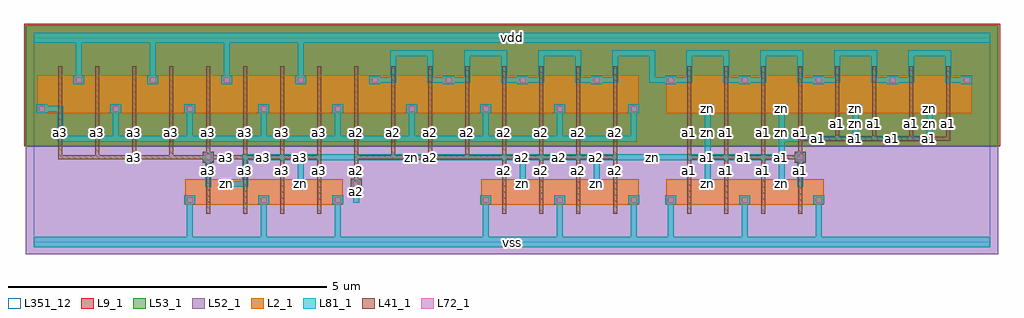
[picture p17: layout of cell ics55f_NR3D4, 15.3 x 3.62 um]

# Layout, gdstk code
import gdstk
lib = gdstk.Library(unit=1e-6, precision=1e-09)
def R(c, l, rs):  # rectangles x0, y0, x1, y1
    for r in rs: c.add(gdstk.rectangle(r[:2], r[2:], *l))
def A(c, l, x, y, w, h, nx, ny, dx, dy):  # array of equal rectangles
    R(c, l, [(x+i*dx, y+j*dy, x+i*dx+w, y+j*dy+h) for i in range(nx) for j in range(ny)])
def P(c, l, *ps):  # polygons
    for p in ps: c.add(gdstk.Polygon(p, *l))
L0_0 = (0, 0)
L2_1 = (2, 1)
L9_1 = (9, 1)
L41_1 = (41, 1)
L52_1 = (52, 1)
L53_1 = (53, 1)
L72_1 = (72, 1)
L81_1 = (81, 1)
L351_12 = (351, 12)

ics55f_nr3d4 = lib.new_cell('ics55f_NR3D4')
A(ics55f_nr3d4, L2_1, 2.375, 0.585, 0.73, 0.4, 4, 1, 0.58, 0)
A(ics55f_nr3d4, L2_1, 2.375, 0.585, 0.15, 0.15, 3, 1, 1.16, 0)
A(ics55f_nr3d4, L2_1, 7.015, 0.585, 0.73, 0.4, 4, 1, 0.58, 0)
A(ics55f_nr3d4, L2_1, 7.015, 0.585, 0.15, 0.15, 3, 1, 1.16, 0)
A(ics55f_nr3d4, L2_1, 9.915, 0.585, 0.73, 0.4, 4, 1, 0.58, 0)
A(ics55f_nr3d4, L2_1, 9.915, 0.585, 0.15, 0.15, 3, 1, 1.16, 0)
A(ics55f_nr3d4, L2_1, 0.055, 2.015, 0.73, 0.6, 16, 1, 0.58, 0)
A(ics55f_nr3d4, L2_1, 0.055, 2.015, 0.15, 0.15, 13, 1, 1.16, 0)
A(ics55f_nr3d4, L2_1, 9.915, 2.015, 0.73, 0.6, 8, 1, 0.58, 0)
A(ics55f_nr3d4, L2_1, 0.635, 2.465, 0.15, 0.15, 13, 1, 1.16, 0)
R(ics55f_nr3d4, L2_1, [(2.955,0.835,3.105,0.985), (4.115,0.835,4.265,0.985), (7.595,0.835,7.745,0.985), (8.755,0.835,8.905,0.985), (10.495,0.835,10.645,0.985), (11.655,0.835,11.805,0.985)])
R(ics55f_nr3d4, L9_1, [(-0.15,1.5,15.15,3.425)])
A(ics55f_nr3d4, L41_1, 2.71, 0.445, 0.06, 0.68, 4, 1, 0.58, 0)
A(ics55f_nr3d4, L41_1, 7.35, 0.445, 0.06, 0.68, 4, 1, 0.58, 0)
A(ics55f_nr3d4, L41_1, 10.25, 0.445, 0.06, 0.68, 4, 1, 0.58, 0)
A(ics55f_nr3d4, L41_1, 2.71, 0.88, 0.06, 0.48, 5, 1, 0.58, 0)
A(ics55f_nr3d4, L41_1, 7.35, 0.88, 0.06, 0.48, 4, 1, 0.58, 0)
A(ics55f_nr3d4, L41_1, 10.25, 0.88, 0.06, 0.48, 4, 1, 0.58, 0)
A(ics55f_nr3d4, L41_1, 0.39, 1.3, 0.06, 0.82, 16, 1, 0.58, 0)
A(ics55f_nr3d4, L41_1, 2.71, 1.3, 0.64, 0.06, 3, 1, 0.58, 0)
A(ics55f_nr3d4, L41_1, 7.35, 1.3, 0.64, 0.06, 3, 1, 0.58, 0)
A(ics55f_nr3d4, L41_1, 10.25, 1.3, 0.64, 0.06, 3, 1, 0.58, 0)
A(ics55f_nr3d4, L41_1, 10.25, 1.3, 0.06, 0.82, 4, 1, 0.58, 0)
A(ics55f_nr3d4, L41_1, 11.99, 1.59, 0.64, 0.06, 4, 1, 0.58, 0)
A(ics55f_nr3d4, L41_1, 12.57, 1.59, 0.06, 0.53, 4, 1, 0.58, 0)
A(ics55f_nr3d4, L41_1, 0.39, 1.875, 0.06, 0.88, 16, 1, 0.58, 0)
A(ics55f_nr3d4, L41_1, 10.25, 1.875, 0.06, 0.88, 8, 1, 0.58, 0)
R(ics55f_nr3d4, L41_1, [(4.975,0.825,5.145,0.995), (2.655,1.245,2.825,1.415), (11.935,1.245,12.105,1.415), (0.39,1.3,2.77,1.36), (5.03,1.3,7.41,1.36)])
R(ics55f_nr3d4, L52_1, [(-0.12,-0.195,15.12,1.5)])
R(ics55f_nr3d4, L53_1, [(-0.12,1.5,15.12,3.395)])
A(ics55f_nr3d4, L72_1, 2.405, 0.615, 0.09, 0.09, 3, 1, 1.16, 0)
A(ics55f_nr3d4, L72_1, 7.045, 0.615, 0.09, 0.09, 3, 1, 1.16, 0)
A(ics55f_nr3d4, L72_1, 9.945, 0.615, 0.09, 0.09, 3, 1, 1.16, 0)
A(ics55f_nr3d4, L72_1, 0.085, 2.045, 0.09, 0.09, 13, 1, 1.16, 0)
A(ics55f_nr3d4, L72_1, 0.665, 2.495, 0.09, 0.09, 13, 1, 1.16, 0)
R(ics55f_nr3d4, L72_1, [(2.985,0.865,3.075,0.955), (4.145,0.865,4.235,0.955), (5.015,0.865,5.105,0.955), (7.625,0.865,7.715,0.955), (8.785,0.865,8.875,0.955), (10.525,0.865,10.615,0.955), (11.685,0.865,11.775,0.955), (2.695,1.285,2.785,1.375), (11.975,1.285,12.065,1.375)])
P(ics55f_nr3d4, L81_1, [(0,-0.08),(0,0.08),(2.405,0.08),(2.405,0.59),(2.365,0.59),(2.365,0.73),(2.535,0.73),(2.535,0.59),(2.495,0.59),(2.495,0.08),(3.565,0.08),(3.565,0.59),(3.525,0.59),(3.525,0.73),(3.695,0.73),(3.695,0.59),(3.655,0.59),(3.655,0.08),(4.725,0.08),(4.725,0.59),(4.685,0.59),(4.685,0.73),(4.855,0.73),(4.855,0.59),(4.815,0.59),(4.815,0.08),(7.045,0.08),(7.045,0.59),(7.005,0.59),(7.005,0.73),(7.175,0.73),(7.175,0.59),(7.135,0.59),(7.135,0.08),(8.205,0.08),(8.205,0.59),(8.165,0.59),(8.165,0.73),(8.335,0.73),(8.335,0.59),(8.295,0.59),(8.295,0.08),(9.365,0.08),(9.365,0.59),(9.325,0.59),(9.325,0.73),(9.495,0.73),(9.495,0.59),(9.455,0.59),(9.455,0.08),(9.945,0.08),(9.945,0.59),(9.905,0.59),(9.905,0.73),(10.075,0.73),(10.075,0.59),(10.035,0.59),(10.035,0.08),(11.105,0.08),(11.105,0.59),(11.065,0.59),(11.065,0.73),(11.235,0.73),(11.235,0.59),(11.195,0.59),(11.195,0.08),(12.265,0.08),(12.265,0.59),(12.225,0.59),(12.225,0.73),(12.395,0.73),(12.395,0.59),(12.355,0.59),(12.355,0.08),(15,0.08),(15,-0.08)],
  [(5.015,0.615),(5.015,0.84),(4.975,0.84),(4.975,0.98),(5.145,0.98),(5.145,0.84),(5.105,0.84),(5.105,0.615)],
  [(2.695,0.865),(2.695,1.26),(2.655,1.26),(2.655,1.4),(2.825,1.4),(2.825,1.26),(2.785,1.26),(2.785,0.865)],
  [(11.975,0.865),(11.975,1.26),(11.935,1.26),(11.935,1.4),(12.105,1.4),(12.105,1.26),(12.065,1.26),(12.065,0.865)],
  [(0.375,1.575),(0.375,2.045),(0.215,2.045),(0.215,2.02),(0.045,2.02),(0.045,2.16),(0.215,2.16),(0.215,2.135),(0.465,2.135),(0.465,1.665),(1.245,1.665),(1.245,2.02),(1.205,2.02),(1.205,2.16),(1.375,2.16),(1.375,2.02),(1.335,2.02),(1.335,1.665),(2.405,1.665),(2.405,2.02),(2.365,2.02),(2.365,2.16),(2.535,2.16),(2.535,2.02),(2.495,2.02),(2.495,1.665),(3.565,1.665),(3.565,2.02),(3.525,2.02),(3.525,2.16),(3.695,2.16),(3.695,2.02),(3.655,2.02),(3.655,1.665),(4.725,1.665),(4.725,2.02),(4.685,2.02),(4.685,2.16),(4.855,2.16),(4.855,2.02),(4.815,2.02),(4.815,1.665),(5.885,1.665),(5.885,2.02),(5.845,2.02),(5.845,2.16),(6.015,2.16),(6.015,2.02),(5.975,2.02),(5.975,1.665),(7.045,1.665),(7.045,2.02),(7.005,2.02),(7.005,2.16),(7.175,2.16),(7.175,2.02),(7.135,2.02),(7.135,1.665),(8.205,1.665),(8.205,2.02),(8.165,2.02),(8.165,2.16),(8.335,2.16),(8.335,2.02),(8.295,2.02),(8.295,1.665),(9.365,1.665),(9.365,2.02),(9.325,2.02),(9.325,2.16),(9.495,2.16),(9.495,2.02),(9.455,2.02),(9.455,1.575)],
  [(2.945,0.84),(2.945,0.98),(3.115,0.98),(3.115,0.955),(3.275,0.955),(3.275,1.375),(10.525,1.375),(10.525,2.02),(10.485,2.02),(10.485,2.16),(10.655,2.16),(10.655,2.02),(10.615,2.02),(10.615,1.375),(11.685,1.375),(11.685,2.02),(11.645,2.02),(11.645,2.16),(11.815,2.16),(11.815,2.02),(11.775,2.02),(11.775,1.665),(12.845,1.665),(12.845,2.02),(12.805,2.02),(12.805,2.16),(12.975,2.16),(12.975,2.02),(12.935,2.02),(12.935,1.665),(14.005,1.665),(14.005,2.02),(13.965,2.02),(13.965,2.16),(14.135,2.16),(14.135,2.02),(14.095,2.02),(14.095,1.575),(11.775,1.575),(11.775,0.98),(11.815,0.98),(11.815,0.84),(11.645,0.84),(11.645,0.98),(11.685,0.98),(11.685,1.285),(10.615,1.285),(10.615,0.98),(10.655,0.98),(10.655,0.84),(10.485,0.84),(10.485,0.98),(10.525,0.98),(10.525,1.285),(8.875,1.285),(8.875,0.98),(8.915,0.98),(8.915,0.84),(8.745,0.84),(8.745,0.98),(8.785,0.98),(8.785,1.285),(7.715,1.285),(7.715,0.98),(7.755,0.98),(7.755,0.84),(7.585,0.84),(7.585,0.98),(7.625,0.98),(7.625,1.285),(4.235,1.285),(4.235,0.98),(4.275,0.98),(4.275,0.84),(4.105,0.84),(4.105,0.98),(4.145,0.98),(4.145,1.285),(3.365,1.285),(3.365,0.865),(3.115,0.865),(3.115,0.84)],
  [(5.265,2.47),(5.265,2.61),(5.435,2.61),(5.435,2.585),(5.595,2.585),(5.595,3.005),(6.265,3.005),(6.265,2.585),(6.425,2.585),(6.425,2.61),(6.595,2.61),(6.595,2.585),(6.755,2.585),(6.755,3.005),(7.425,3.005),(7.425,2.585),(7.585,2.585),(7.585,2.61),(7.755,2.61),(7.755,2.585),(7.915,2.585),(7.915,3.005),(8.585,3.005),(8.585,2.585),(8.745,2.585),(8.745,2.61),(8.915,2.61),(8.915,2.585),(9.075,2.585),(9.075,3.005),(9.745,3.005),(9.745,2.585),(9.905,2.585),(9.905,2.61),(10.075,2.61),(10.075,2.585),(10.235,2.585),(10.235,3.005),(10.905,3.005),(10.905,2.585),(11.065,2.585),(11.065,2.61),(11.235,2.61),(11.235,2.585),(11.395,2.585),(11.395,3.005),(12.065,3.005),(12.065,2.585),(12.225,2.585),(12.225,2.61),(12.395,2.61),(12.395,2.585),(12.555,2.585),(12.555,3.005),(13.225,3.005),(13.225,2.585),(13.385,2.585),(13.385,2.61),(13.555,2.61),(13.555,2.585),(13.715,2.585),(13.715,3.005),(14.385,3.005),(14.385,2.585),(14.545,2.585),(14.545,2.61),(14.715,2.61),(14.715,2.47),(14.545,2.47),(14.545,2.495),(14.295,2.495),(14.295,2.915),(13.805,2.915),(13.805,2.495),(13.555,2.495),(13.555,2.47),(13.385,2.47),(13.385,2.495),(13.135,2.495),(13.135,2.915),(12.645,2.915),(12.645,2.495),(12.395,2.495),(12.395,2.47),(12.225,2.47),(12.225,2.495),(11.975,2.495),(11.975,2.915),(11.485,2.915),(11.485,2.495),(11.235,2.495),(11.235,2.47),(11.065,2.47),(11.065,2.495),(10.815,2.495),(10.815,2.915),(10.325,2.915),(10.325,2.495),(10.075,2.495),(10.075,2.47),(9.905,2.47),(9.905,2.495),(9.655,2.495),(9.655,2.915),(9.165,2.915),(9.165,2.495),(8.915,2.495),(8.915,2.47),(8.745,2.47),(8.745,2.495),(8.495,2.495),(8.495,2.915),(8.005,2.915),(8.005,2.495),(7.755,2.495),(7.755,2.47),(7.585,2.47),(7.585,2.495),(7.335,2.495),(7.335,2.915),(6.845,2.915),(6.845,2.495),(6.595,2.495),(6.595,2.47),(6.425,2.47),(6.425,2.495),(6.175,2.495),(6.175,2.915),(5.685,2.915),(5.685,2.495),(5.435,2.495),(5.435,2.47)],
  [(0.625,2.47),(0.625,2.61),(0.665,2.61),(0.665,3.12),(0,3.12),(0,3.28),(15,3.28),(15,3.12),(4.235,3.12),(4.235,2.61),(4.275,2.61),(4.275,2.47),(4.105,2.47),(4.105,2.61),(4.145,2.61),(4.145,3.12),(3.075,3.12),(3.075,2.61),(3.115,2.61),(3.115,2.47),(2.945,2.47),(2.945,2.61),(2.985,2.61),(2.985,3.12),(1.915,3.12),(1.915,2.61),(1.955,2.61),(1.955,2.47),(1.785,2.47),(1.785,2.61),(1.825,2.61),(1.825,3.12),(0.755,3.12),(0.755,2.61),(0.795,2.61),(0.795,2.47)])
R(ics55f_nr3d4, L351_12, [(0,0,15,3.2)])
ics55f_nr3d4.add(gdstk.FlexPath([(0.045,0.24),(14.715,0.24)], 0, ends="flush", simple_path=True, layer=0, datatype=0))  # L0_0
ics55f_nr3d4.add(gdstk.FlexPath([(0.045,0.66),(14.715,0.66)], 0, ends="flush", simple_path=True, layer=0, datatype=0))  # L0_0
ics55f_nr3d4.add(gdstk.FlexPath([(0.045,0.91),(14.715,0.91)], 0, ends="flush", simple_path=True, layer=0, datatype=0))  # L0_0
ics55f_nr3d4.add(gdstk.FlexPath([(0.045,1.33),(14.715,1.33)], 0, ends="flush", simple_path=True, layer=0, datatype=0))  # L0_0
ics55f_nr3d4.add(gdstk.FlexPath([(0.045,1.62),(14.715,1.62)], 0, ends="flush", simple_path=True, layer=0, datatype=0))  # L0_0
ics55f_nr3d4.add(gdstk.FlexPath([(0.045,2.09),(14.715,2.09)], 0, ends="flush", simple_path=True, layer=0, datatype=0))  # L0_0
ics55f_nr3d4.add(gdstk.FlexPath([(0.045,2.54),(14.715,2.54)], 0, ends="flush", simple_path=True, layer=0, datatype=0))  # L0_0
ics55f_nr3d4.add(gdstk.FlexPath([(0.045,2.96),(14.715,2.96)], 0, ends="flush", simple_path=True, layer=0, datatype=0))  # L0_0
ics55f_nr3d4.add(gdstk.FlexPath([(0.13,0.03),(0.13,3.17)], 0, ends="flush", simple_path=True, layer=0, datatype=0))  # L0_0
ics55f_nr3d4.add(gdstk.FlexPath([(0.42,0.03),(0.42,3.17)], 0, ends="flush", simple_path=True, layer=0, datatype=0))  # L0_0
ics55f_nr3d4.add(gdstk.FlexPath([(0.71,0.03),(0.71,3.17)], 0, ends="flush", simple_path=True, layer=0, datatype=0))  # L0_0
ics55f_nr3d4.add(gdstk.FlexPath([(1,0.03),(1,3.17)], 0, ends="flush", simple_path=True, layer=0, datatype=0))  # L0_0
ics55f_nr3d4.add(gdstk.FlexPath([(1.29,0.03),(1.29,3.17)], 0, ends="flush", simple_path=True, layer=0, datatype=0))  # L0_0
ics55f_nr3d4.add(gdstk.FlexPath([(1.58,0.03),(1.58,3.17)], 0, ends="flush", simple_path=True, layer=0, datatype=0))  # L0_0
ics55f_nr3d4.add(gdstk.FlexPath([(1.87,0.03),(1.87,3.17)], 0, ends="flush", simple_path=True, layer=0, datatype=0))  # L0_0
ics55f_nr3d4.add(gdstk.FlexPath([(2.16,0.03),(2.16,3.17)], 0, ends="flush", simple_path=True, layer=0, datatype=0))  # L0_0
ics55f_nr3d4.add(gdstk.FlexPath([(2.45,0.03),(2.45,3.17)], 0, ends="flush", simple_path=True, layer=0, datatype=0))  # L0_0
ics55f_nr3d4.add(gdstk.FlexPath([(2.74,0.03),(2.74,3.17)], 0, ends="flush", simple_path=True, layer=0, datatype=0))  # L0_0
ics55f_nr3d4.add(gdstk.FlexPath([(3.03,0.03),(3.03,3.17)], 0, ends="flush", simple_path=True, layer=0, datatype=0))  # L0_0
ics55f_nr3d4.add(gdstk.FlexPath([(3.32,0.03),(3.32,3.17)], 0, ends="flush", simple_path=True, layer=0, datatype=0))  # L0_0
ics55f_nr3d4.add(gdstk.FlexPath([(3.61,0.03),(3.61,3.17)], 0, ends="flush", simple_path=True, layer=0, datatype=0))  # L0_0
ics55f_nr3d4.add(gdstk.FlexPath([(3.9,0.03),(3.9,3.17)], 0, ends="flush", simple_path=True, layer=0, datatype=0))  # L0_0
ics55f_nr3d4.add(gdstk.FlexPath([(4.19,0.03),(4.19,3.17)], 0, ends="flush", simple_path=True, layer=0, datatype=0))  # L0_0
ics55f_nr3d4.add(gdstk.FlexPath([(4.48,0.03),(4.48,3.17)], 0, ends="flush", simple_path=True, layer=0, datatype=0))  # L0_0
ics55f_nr3d4.add(gdstk.FlexPath([(4.77,0.03),(4.77,3.17)], 0, ends="flush", simple_path=True, layer=0, datatype=0))  # L0_0
ics55f_nr3d4.add(gdstk.FlexPath([(5.06,0.03),(5.06,3.17)], 0, ends="flush", simple_path=True, layer=0, datatype=0))  # L0_0
ics55f_nr3d4.add(gdstk.FlexPath([(5.35,0.03),(5.35,3.17)], 0, ends="flush", simple_path=True, layer=0, datatype=0))  # L0_0
ics55f_nr3d4.add(gdstk.FlexPath([(5.64,0.03),(5.64,3.17)], 0, ends="flush", simple_path=True, layer=0, datatype=0))  # L0_0
ics55f_nr3d4.add(gdstk.FlexPath([(5.93,0.03),(5.93,3.17)], 0, ends="flush", simple_path=True, layer=0, datatype=0))  # L0_0
ics55f_nr3d4.add(gdstk.FlexPath([(6.22,0.03),(6.22,3.17)], 0, ends="flush", simple_path=True, layer=0, datatype=0))  # L0_0
ics55f_nr3d4.add(gdstk.FlexPath([(6.51,0.03),(6.51,3.17)], 0, ends="flush", simple_path=True, layer=0, datatype=0))  # L0_0
ics55f_nr3d4.add(gdstk.FlexPath([(6.8,0.03),(6.8,3.17)], 0, ends="flush", simple_path=True, layer=0, datatype=0))  # L0_0
ics55f_nr3d4.add(gdstk.FlexPath([(7.09,0.03),(7.09,3.17)], 0, ends="flush", simple_path=True, layer=0, datatype=0))  # L0_0
ics55f_nr3d4.add(gdstk.FlexPath([(7.38,0.03),(7.38,3.17)], 0, ends="flush", simple_path=True, layer=0, datatype=0))  # L0_0
ics55f_nr3d4.add(gdstk.FlexPath([(7.67,0.03),(7.67,3.17)], 0, ends="flush", simple_path=True, layer=0, datatype=0))  # L0_0
ics55f_nr3d4.add(gdstk.FlexPath([(7.96,0.03),(7.96,3.17)], 0, ends="flush", simple_path=True, layer=0, datatype=0))  # L0_0
ics55f_nr3d4.add(gdstk.FlexPath([(8.25,0.03),(8.25,3.17)], 0, ends="flush", simple_path=True, layer=0, datatype=0))  # L0_0
ics55f_nr3d4.add(gdstk.FlexPath([(8.54,0.03),(8.54,3.17)], 0, ends="flush", simple_path=True, layer=0, datatype=0))  # L0_0
ics55f_nr3d4.add(gdstk.FlexPath([(8.83,0.03),(8.83,3.17)], 0, ends="flush", simple_path=True, layer=0, datatype=0))  # L0_0
ics55f_nr3d4.add(gdstk.FlexPath([(9.12,0.03),(9.12,3.17)], 0, ends="flush", simple_path=True, layer=0, datatype=0))  # L0_0
ics55f_nr3d4.add(gdstk.FlexPath([(9.41,0.03),(9.41,3.17)], 0, ends="flush", simple_path=True, layer=0, datatype=0))  # L0_0
ics55f_nr3d4.add(gdstk.FlexPath([(9.7,0.03),(9.7,3.17)], 0, ends="flush", simple_path=True, layer=0, datatype=0))  # L0_0
ics55f_nr3d4.add(gdstk.FlexPath([(9.99,0.03),(9.99,3.17)], 0, ends="flush", simple_path=True, layer=0, datatype=0))  # L0_0
ics55f_nr3d4.add(gdstk.FlexPath([(10.28,0.03),(10.28,3.17)], 0, ends="flush", simple_path=True, layer=0, datatype=0))  # L0_0
ics55f_nr3d4.add(gdstk.FlexPath([(10.57,0.03),(10.57,3.17)], 0, ends="flush", simple_path=True, layer=0, datatype=0))  # L0_0
ics55f_nr3d4.add(gdstk.FlexPath([(10.86,0.03),(10.86,3.17)], 0, ends="flush", simple_path=True, layer=0, datatype=0))  # L0_0
ics55f_nr3d4.add(gdstk.FlexPath([(11.15,0.03),(11.15,3.17)], 0, ends="flush", simple_path=True, layer=0, datatype=0))  # L0_0
ics55f_nr3d4.add(gdstk.FlexPath([(11.44,0.03),(11.44,3.17)], 0, ends="flush", simple_path=True, layer=0, datatype=0))  # L0_0
ics55f_nr3d4.add(gdstk.FlexPath([(11.73,0.03),(11.73,3.17)], 0, ends="flush", simple_path=True, layer=0, datatype=0))  # L0_0
ics55f_nr3d4.add(gdstk.FlexPath([(12.02,0.03),(12.02,3.17)], 0, ends="flush", simple_path=True, layer=0, datatype=0))  # L0_0
ics55f_nr3d4.add(gdstk.FlexPath([(12.31,0.03),(12.31,3.17)], 0, ends="flush", simple_path=True, layer=0, datatype=0))  # L0_0
ics55f_nr3d4.add(gdstk.FlexPath([(12.6,0.03),(12.6,3.17)], 0, ends="flush", simple_path=True, layer=0, datatype=0))  # L0_0
ics55f_nr3d4.add(gdstk.FlexPath([(12.89,0.03),(12.89,3.17)], 0, ends="flush", simple_path=True, layer=0, datatype=0))  # L0_0
ics55f_nr3d4.add(gdstk.FlexPath([(13.18,0.03),(13.18,3.17)], 0, ends="flush", simple_path=True, layer=0, datatype=0))  # L0_0
ics55f_nr3d4.add(gdstk.FlexPath([(13.47,0.03),(13.47,3.17)], 0, ends="flush", simple_path=True, layer=0, datatype=0))  # L0_0
ics55f_nr3d4.add(gdstk.FlexPath([(13.76,0.03),(13.76,3.17)], 0, ends="flush", simple_path=True, layer=0, datatype=0))  # L0_0
ics55f_nr3d4.add(gdstk.FlexPath([(14.05,0.03),(14.05,3.17)], 0, ends="flush", simple_path=True, layer=0, datatype=0))  # L0_0
ics55f_nr3d4.add(gdstk.FlexPath([(14.34,0.03),(14.34,3.17)], 0, ends="flush", simple_path=True, layer=0, datatype=0))  # L0_0
ics55f_nr3d4.add(gdstk.FlexPath([(14.63,0.03),(14.63,3.17)], 0, ends="flush", simple_path=True, layer=0, datatype=0))  # L0_0
ics55f_nr3d4.add(gdstk.Label('zn', (3.03,0.91), layer=2, texttype=1))
ics55f_nr3d4.add(gdstk.Label('zn', (4.19,0.91), layer=2, texttype=1))
ics55f_nr3d4.add(gdstk.Label('zn', (7.67,0.91), layer=2, texttype=1))
ics55f_nr3d4.add(gdstk.Label('zn', (8.83,0.91), layer=2, texttype=1))
ics55f_nr3d4.add(gdstk.Label('zn', (10.57,0.91), layer=2, texttype=1))
ics55f_nr3d4.add(gdstk.Label('zn', (11.73,0.91), layer=2, texttype=1))
ics55f_nr3d4.add(gdstk.Label('zn', (10.57,2.09), layer=2, texttype=1))
ics55f_nr3d4.add(gdstk.Label('zn', (11.73,2.09), layer=2, texttype=1))
ics55f_nr3d4.add(gdstk.Label('zn', (12.89,2.09), layer=2, texttype=1))
ics55f_nr3d4.add(gdstk.Label('zn', (14.05,2.09), layer=2, texttype=1))
ics55f_nr3d4.add(gdstk.Label('a3', (2.74,1.12), layer=41, texttype=1))
ics55f_nr3d4.add(gdstk.Label('a3', (3.03,1.33), layer=41, texttype=1))
ics55f_nr3d4.add(gdstk.Label('a3', (3.32,1.12), layer=41, texttype=1))
ics55f_nr3d4.add(gdstk.Label('a3', (3.61,1.33), layer=41, texttype=1))
ics55f_nr3d4.add(gdstk.Label('a3', (3.9,1.12), layer=41, texttype=1))
ics55f_nr3d4.add(gdstk.Label('a3', (4.19,1.33), layer=41, texttype=1))
ics55f_nr3d4.add(gdstk.Label('a3', (4.48,1.12), layer=41, texttype=1))
ics55f_nr3d4.add(gdstk.Label('a3', (1.58,1.33), layer=41, texttype=1))
ics55f_nr3d4.add(gdstk.Label('a3', (0.42,1.71), layer=41, texttype=1))
ics55f_nr3d4.add(gdstk.Label('a3', (1,1.71), layer=41, texttype=1))
ics55f_nr3d4.add(gdstk.Label('a3', (1.58,1.71), layer=41, texttype=1))
ics55f_nr3d4.add(gdstk.Label('a3', (2.16,1.71), layer=41, texttype=1))
ics55f_nr3d4.add(gdstk.Label('a3', (2.74,1.71), layer=41, texttype=1))
ics55f_nr3d4.add(gdstk.Label('a3', (3.32,1.71), layer=41, texttype=1))
ics55f_nr3d4.add(gdstk.Label('a3', (3.9,1.71), layer=41, texttype=1))
ics55f_nr3d4.add(gdstk.Label('a3', (4.48,1.71), layer=41, texttype=1))
ics55f_nr3d4.add(gdstk.Label('a3', (2.74,1.33), layer=41, texttype=1))
ics55f_nr3d4.add(gdstk.Label('a2', (7.38,1.12), layer=41, texttype=1))
ics55f_nr3d4.add(gdstk.Label('a2', (7.67,1.33), layer=41, texttype=1))
ics55f_nr3d4.add(gdstk.Label('a2', (7.96,1.12), layer=41, texttype=1))
ics55f_nr3d4.add(gdstk.Label('a2', (8.25,1.33), layer=41, texttype=1))
ics55f_nr3d4.add(gdstk.Label('a2', (8.54,1.12), layer=41, texttype=1))
ics55f_nr3d4.add(gdstk.Label('a2', (8.83,1.33), layer=41, texttype=1))
ics55f_nr3d4.add(gdstk.Label('a2', (9.12,1.12), layer=41, texttype=1))
ics55f_nr3d4.add(gdstk.Label('a2', (6.22,1.33), layer=41, texttype=1))
ics55f_nr3d4.add(gdstk.Label('a2', (5.06,1.71), layer=41, texttype=1))
ics55f_nr3d4.add(gdstk.Label('a2', (5.64,1.71), layer=41, texttype=1))
ics55f_nr3d4.add(gdstk.Label('a2', (6.22,1.71), layer=41, texttype=1))
ics55f_nr3d4.add(gdstk.Label('a2', (6.8,1.71), layer=41, texttype=1))
ics55f_nr3d4.add(gdstk.Label('a2', (7.38,1.71), layer=41, texttype=1))
ics55f_nr3d4.add(gdstk.Label('a2', (7.96,1.71), layer=41, texttype=1))
ics55f_nr3d4.add(gdstk.Label('a2', (8.54,1.71), layer=41, texttype=1))
ics55f_nr3d4.add(gdstk.Label('a2', (9.12,1.71), layer=41, texttype=1))
ics55f_nr3d4.add(gdstk.Label('a2', (5.06,1.12), layer=41, texttype=1))
ics55f_nr3d4.add(gdstk.Label('a2', (5.06,0.91), layer=41, texttype=1))
ics55f_nr3d4.add(gdstk.Label('a1', (10.28,1.12), layer=41, texttype=1))
ics55f_nr3d4.add(gdstk.Label('a1', (10.57,1.33), layer=41, texttype=1))
ics55f_nr3d4.add(gdstk.Label('a1', (10.86,1.12), layer=41, texttype=1))
ics55f_nr3d4.add(gdstk.Label('a1', (11.15,1.33), layer=41, texttype=1))
ics55f_nr3d4.add(gdstk.Label('a1', (11.44,1.12), layer=41, texttype=1))
ics55f_nr3d4.add(gdstk.Label('a1', (11.73,1.33), layer=41, texttype=1))
ics55f_nr3d4.add(gdstk.Label('a1', (12.02,1.12), layer=41, texttype=1))
ics55f_nr3d4.add(gdstk.Label('a1', (10.28,1.71), layer=41, texttype=1))
ics55f_nr3d4.add(gdstk.Label('a1', (10.86,1.71), layer=41, texttype=1))
ics55f_nr3d4.add(gdstk.Label('a1', (11.44,1.71), layer=41, texttype=1))
ics55f_nr3d4.add(gdstk.Label('a1', (12.02,1.71), layer=41, texttype=1))
ics55f_nr3d4.add(gdstk.Label('a1', (12.31,1.62), layer=41, texttype=1))
ics55f_nr3d4.add(gdstk.Label('a1', (12.6,1.855), layer=41, texttype=1))
ics55f_nr3d4.add(gdstk.Label('a1', (12.89,1.62), layer=41, texttype=1))
ics55f_nr3d4.add(gdstk.Label('a1', (13.18,1.855), layer=41, texttype=1))
ics55f_nr3d4.add(gdstk.Label('a1', (13.47,1.62), layer=41, texttype=1))
ics55f_nr3d4.add(gdstk.Label('a1', (13.76,1.855), layer=41, texttype=1))
ics55f_nr3d4.add(gdstk.Label('a1', (14.05,1.62), layer=41, texttype=1))
ics55f_nr3d4.add(gdstk.Label('a1', (14.34,1.855), layer=41, texttype=1))
ics55f_nr3d4.add(gdstk.Label('a1', (12.02,1.33), layer=41, texttype=1))
ics55f_nr3d4.add(gdstk.Label('zn', (3.03,0.91), layer=72, texttype=1))
ics55f_nr3d4.add(gdstk.Label('zn', (4.19,0.91), layer=72, texttype=1))
ics55f_nr3d4.add(gdstk.Label('zn', (7.67,0.91), layer=72, texttype=1))
ics55f_nr3d4.add(gdstk.Label('zn', (8.83,0.91), layer=72, texttype=1))
ics55f_nr3d4.add(gdstk.Label('zn', (10.57,0.91), layer=72, texttype=1))
ics55f_nr3d4.add(gdstk.Label('zn', (11.73,0.91), layer=72, texttype=1))
ics55f_nr3d4.add(gdstk.Label('zn', (10.57,2.09), layer=72, texttype=1))
ics55f_nr3d4.add(gdstk.Label('zn', (11.73,2.09), layer=72, texttype=1))
ics55f_nr3d4.add(gdstk.Label('zn', (12.89,2.09), layer=72, texttype=1))
ics55f_nr3d4.add(gdstk.Label('zn', (14.05,2.09), layer=72, texttype=1))
ics55f_nr3d4.add(gdstk.Label('a3', (2.74,1.33), layer=72, texttype=1))
ics55f_nr3d4.add(gdstk.Label('a2', (5.06,0.91), layer=72, texttype=1))
ics55f_nr3d4.add(gdstk.Label('a1', (12.02,1.33), layer=72, texttype=1))
ics55f_nr3d4.add(gdstk.Label('zn', (3.03,0.91), layer=81, texttype=6))
ics55f_nr3d4.add(gdstk.Label('zn', (4.19,0.91), layer=81, texttype=6))
ics55f_nr3d4.add(gdstk.Label('zn', (7.67,0.91), layer=81, texttype=6))
ics55f_nr3d4.add(gdstk.Label('zn', (8.83,0.91), layer=81, texttype=6))
ics55f_nr3d4.add(gdstk.Label('zn', (10.57,0.91), layer=81, texttype=6))
ics55f_nr3d4.add(gdstk.Label('zn', (11.73,0.91), layer=81, texttype=6))
ics55f_nr3d4.add(gdstk.Label('zn', (10.57,2.09), layer=81, texttype=6))
ics55f_nr3d4.add(gdstk.Label('zn', (11.73,2.09), layer=81, texttype=6))
ics55f_nr3d4.add(gdstk.Label('zn', (12.89,2.09), layer=81, texttype=6))
ics55f_nr3d4.add(gdstk.Label('zn', (14.05,2.09), layer=81, texttype=6))
ics55f_nr3d4.add(gdstk.Label('zn', (3.175,0.91), layer=81, texttype=6))
ics55f_nr3d4.add(gdstk.Label('zn', (3.32,1.12), layer=81, texttype=6))
ics55f_nr3d4.add(gdstk.Label('zn', (3.755,1.33), layer=81, texttype=6))
ics55f_nr3d4.add(gdstk.Label('zn', (4.19,1.12), layer=81, texttype=6))
ics55f_nr3d4.add(gdstk.Label('zn', (5.93,1.33), layer=81, texttype=6))
ics55f_nr3d4.add(gdstk.Label('zn', (7.67,1.12), layer=81, texttype=6))
ics55f_nr3d4.add(gdstk.Label('zn', (8.25,1.33), layer=81, texttype=6))
ics55f_nr3d4.add(gdstk.Label('zn', (8.83,1.12), layer=81, texttype=6))
ics55f_nr3d4.add(gdstk.Label('zn', (9.7,1.33), layer=81, texttype=6))
ics55f_nr3d4.add(gdstk.Label('zn', (10.57,1.12), layer=81, texttype=6))
ics55f_nr3d4.add(gdstk.Label('zn', (11.15,1.33), layer=81, texttype=6))
ics55f_nr3d4.add(gdstk.Label('zn', (11.73,1.12), layer=81, texttype=6))
ics55f_nr3d4.add(gdstk.Label('zn', (10.57,1.71), layer=81, texttype=6))
ics55f_nr3d4.add(gdstk.Label('zn', (11.73,1.71), layer=81, texttype=6))
ics55f_nr3d4.add(gdstk.Label('zn', (12.31,1.62), layer=81, texttype=6))
ics55f_nr3d4.add(gdstk.Label('zn', (12.89,1.855), layer=81, texttype=6))
ics55f_nr3d4.add(gdstk.Label('zn', (13.47,1.62), layer=81, texttype=6))
ics55f_nr3d4.add(gdstk.Label('zn', (14.05,1.855), layer=81, texttype=6))
ics55f_nr3d4.add(gdstk.Label('a3', (2.74,1.33), layer=81, texttype=6))
ics55f_nr3d4.add(gdstk.Label('a3', (2.74,1.12), layer=81, texttype=6))
ics55f_nr3d4.add(gdstk.Label('a2', (5.06,0.91), layer=81, texttype=6))
ics55f_nr3d4.add(gdstk.Label('a2', (5.06,0.785), layer=81, texttype=6))
ics55f_nr3d4.add(gdstk.Label('a1', (12.02,1.33), layer=81, texttype=6))
ics55f_nr3d4.add(gdstk.Label('a1', (12.02,1.12), layer=81, texttype=6))
ics55f_nr3d4.add(gdstk.Label('vss', (7.5,0), layer=81, texttype=6))
ics55f_nr3d4.add(gdstk.Label('vdd', (7.5,3.2), layer=81, texttype=6))

lib.write_gds('ics55f_NR3D4.gds')
